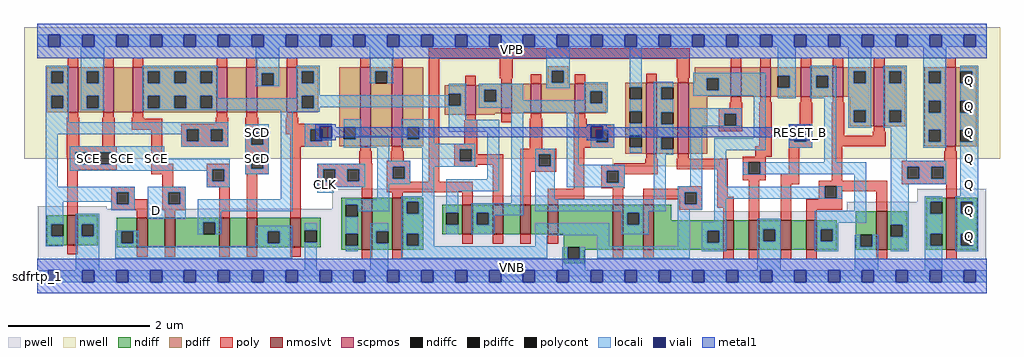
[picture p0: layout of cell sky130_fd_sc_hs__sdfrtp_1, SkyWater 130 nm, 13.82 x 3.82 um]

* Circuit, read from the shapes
.subckt sky130_fd_sc_hs__sdfrtp_1 CLK D RESET_B SCD SCE VGND VNB VPB VPWR Q
XM1 VGND SCE n1 VNB sky130_fd_pr__nfet_01v8_lvt w=0.42 l=0.15
XM2 n2 n1 n3 VNB sky130_fd_pr__nfet_01v8_lvt w=0.42 l=0.15
XM3 n4 D n2 VNB sky130_fd_pr__nfet_01v8_lvt w=0.42 l=0.15
XM4 n5 SCE n4 VNB sky130_fd_pr__nfet_01v8_lvt w=0.42 l=0.15
XM5 n3 SCD n5 VNB sky130_fd_pr__nfet_01v8_lvt w=0.42 l=0.15
XM6 VGND RESET_B n3 VNB sky130_fd_pr__nfet_01v8_lvt w=0.42 l=0.15
XM7 VGND CLK n6 VNB sky130_fd_pr__nfet_01v8_lvt w=0.74 l=0.15
XM8 n7 n6 VGND VNB sky130_fd_pr__nfet_01v8_lvt w=0.74 l=0.15
XM9 n8 n6 n4 VNB sky130_fd_pr__nfet_01v8_lvt w=0.42 l=0.15
XM10 n9 n7 n8 VNB sky130_fd_pr__nfet_01v8_lvt w=0.42 l=0.15
XM11 n10 n11 n9 VNB sky130_fd_pr__nfet_01v8_lvt w=0.42 l=0.15
XM12 VGND RESET_B n10 VNB sky130_fd_pr__nfet_01v8_lvt w=0.42 l=0.15
XM13 n11 n8 VGND VNB sky130_fd_pr__nfet_01v8_lvt w=0.64 l=0.15
XM14 n12 n7 n11 VNB sky130_fd_pr__nfet_01v8_lvt w=0.64 l=0.15
XM15 n13 n6 n12 VNB sky130_fd_pr__nfet_01v8_lvt w=0.42 l=0.15
XM16 VGND n14 n13 VNB sky130_fd_pr__nfet_01v8_lvt w=0.42 l=0.15
XM17 n15 RESET_B VGND VNB sky130_fd_pr__nfet_01v8_lvt w=0.42 l=0.15
XM18 n14 n12 n15 VNB sky130_fd_pr__nfet_01v8_lvt w=0.42 l=0.15
XM19 n16 n12 VGND VNB sky130_fd_pr__nfet_01v8_lvt w=0.55 l=0.15
XM20 Q n16 VGND VNB sky130_fd_pr__nfet_01v8_lvt w=0.74 l=0.15
XM21 VPWR SCE n1 VPB sky130_fd_pr__pfet_01v8 w=0.64 l=0.15
XM22 n17 SCE VPWR VPB sky130_fd_pr__pfet_01v8 w=0.64 l=0.15
XM23 n4 D n17 VPB sky130_fd_pr__pfet_01v8 w=0.64 l=0.15
XM24 n18 n1 n4 VPB sky130_fd_pr__pfet_01v8 w=0.64 l=0.15
XM25 VPWR SCD n18 VPB sky130_fd_pr__pfet_01v8 w=0.64 l=0.15
XM26 n4 RESET_B VPWR VPB sky130_fd_pr__pfet_01v8 w=0.64 l=0.15
XM27 VPWR CLK n6 VPB sky130_fd_pr__pfet_01v8 w=1.12 l=0.15
XM28 n7 n6 VPWR VPB sky130_fd_pr__pfet_01v8 w=1.12 l=0.15
XM29 n8 n7 n4 VPB sky130_fd_pr__pfet_01v8 w=0.42 l=0.15
XM30 n19 n6 n8 VPB sky130_fd_pr__pfet_01v8 w=0.42 l=0.15
XM31 VPWR n11 n19 VPB sky130_fd_pr__pfet_01v8 w=0.42 l=0.15
XM32 n8 RESET_B VPWR VPB sky130_fd_pr__pfet_01v8 w=0.42 l=0.15
XM33 n11 n8 VPWR VPB sky130_fd_pr__pfet_01v8 w=1 l=0.15
XM34 n12 n6 n11 VPB sky130_fd_pr__pfet_01v8 w=1 l=0.15
XM35 n20 n7 n12 VPB sky130_fd_pr__pfet_01v8 w=0.42 l=0.15
XM36 VPWR n14 n20 VPB sky130_fd_pr__pfet_01v8 w=0.42 l=0.15
XM37 n14 RESET_B VPWR VPB sky130_fd_pr__pfet_01v8 w=0.42 l=0.15
XM38 VPWR n12 n14 VPB sky130_fd_pr__pfet_01v8 w=0.42 l=0.15
XM39 n16 n12 VPWR VPB sky130_fd_pr__pfet_01v8 w=0.84 l=0.15
XM40 Q n16 VPWR VPB sky130_fd_pr__pfet_01v8 w=1.12 l=0.15
.ends

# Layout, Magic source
magic
tech sky130A
magscale 1 2
<< nwell >>
rect -38 332 2726 704
rect 1629 311 1933 332
<< pwell >>
rect 835 228 1118 248
rect 1 191 197 198
rect 835 191 1821 228
rect 2491 210 2687 248
rect 1 184 1821 191
rect 2292 184 2687 210
rect 1 49 2687 184
rect 0 0 2688 49
<< scpmos >>
rect 86 464 116 592
rect 186 464 216 592
rect 270 464 300 592
rect 508 464 538 592
rect 592 464 622 592
rect 706 464 736 592
rect 914 368 944 592
rect 1004 368 1034 592
rect 1212 457 1242 541
rect 1313 461 1343 545
rect 1397 461 1427 545
rect 1522 461 1552 545
rect 1724 347 1754 547
rect 1814 347 1844 547
rect 1963 508 1993 592
rect 2047 508 2077 592
rect 2162 508 2192 592
rect 2252 508 2282 592
rect 2369 424 2399 592
rect 2571 368 2601 592
<< nmoslvt >>
rect 84 88 114 172
rect 282 81 312 165
rect 360 81 390 165
rect 515 81 545 165
rect 593 81 623 165
rect 716 81 746 165
rect 918 74 948 222
rect 1005 74 1035 222
rect 1203 118 1233 202
rect 1289 118 1319 202
rect 1367 118 1397 202
rect 1445 118 1475 202
rect 1629 74 1659 202
rect 1715 74 1745 202
rect 1942 74 1972 158
rect 2014 74 2044 158
rect 2105 74 2135 158
rect 2177 74 2207 158
rect 2376 74 2406 184
rect 2574 74 2604 222
<< ndiff >>
rect 27 147 84 172
rect 27 113 39 147
rect 73 113 84 147
rect 27 88 84 113
rect 114 147 171 172
rect 861 202 918 222
rect 861 168 873 202
rect 907 168 918 202
rect 114 113 125 147
rect 159 113 171 147
rect 114 88 171 113
rect 225 127 282 165
rect 225 93 237 127
rect 271 93 282 127
rect 225 81 282 93
rect 312 81 360 165
rect 390 153 515 165
rect 390 119 470 153
rect 504 119 515 153
rect 390 81 515 119
rect 545 81 593 165
rect 623 127 716 165
rect 623 93 652 127
rect 686 93 716 127
rect 623 81 716 93
rect 746 130 803 165
rect 746 96 757 130
rect 791 96 803 130
rect 746 81 803 96
rect 861 120 918 168
rect 861 86 873 120
rect 907 86 918 120
rect 861 74 918 86
rect 948 127 1005 222
rect 948 93 959 127
rect 993 93 1005 127
rect 948 74 1005 93
rect 1035 210 1092 222
rect 1035 176 1046 210
rect 1080 176 1092 210
rect 1035 120 1092 176
rect 1035 86 1046 120
rect 1080 86 1092 120
rect 1146 179 1203 202
rect 1146 145 1158 179
rect 1192 145 1203 179
rect 1146 118 1203 145
rect 1233 179 1289 202
rect 1233 145 1244 179
rect 1278 145 1289 179
rect 1233 118 1289 145
rect 1319 118 1367 202
rect 1397 118 1445 202
rect 1475 118 1629 202
rect 1035 74 1092 86
rect 1490 82 1629 118
rect 1490 48 1502 82
rect 1536 74 1629 82
rect 1659 179 1715 202
rect 1659 145 1670 179
rect 1704 145 1715 179
rect 1659 74 1715 145
rect 1745 158 1795 202
rect 2517 210 2574 222
rect 1745 129 1942 158
rect 1745 95 1897 129
rect 1931 95 1942 129
rect 1745 74 1942 95
rect 1972 74 2014 158
rect 2044 133 2105 158
rect 2044 99 2055 133
rect 2089 99 2105 133
rect 2044 74 2105 99
rect 2135 74 2177 158
rect 2207 133 2264 158
rect 2207 99 2218 133
rect 2252 99 2264 133
rect 2207 74 2264 99
rect 2318 117 2376 184
rect 2318 83 2330 117
rect 2364 83 2376 117
rect 2318 74 2376 83
rect 2406 146 2463 184
rect 2406 112 2417 146
rect 2451 112 2463 146
rect 2406 74 2463 112
rect 2517 176 2529 210
rect 2563 176 2574 210
rect 2517 120 2574 176
rect 2517 86 2529 120
rect 2563 86 2574 120
rect 2517 74 2574 86
rect 2604 210 2661 222
rect 2604 176 2615 210
rect 2649 176 2661 210
rect 2604 120 2661 176
rect 2604 86 2615 120
rect 2649 86 2661 120
rect 2604 74 2661 86
rect 1536 48 1548 74
rect 1490 36 1548 48
<< pdiff >>
rect 27 580 86 592
rect 27 546 39 580
rect 73 546 86 580
rect 27 510 86 546
rect 27 476 39 510
rect 73 476 86 510
rect 27 464 86 476
rect 116 580 186 592
rect 116 546 139 580
rect 173 546 186 580
rect 116 510 186 546
rect 116 476 139 510
rect 173 476 186 510
rect 116 464 186 476
rect 216 464 270 592
rect 300 580 508 592
rect 300 546 313 580
rect 347 546 387 580
rect 421 546 461 580
rect 495 546 508 580
rect 300 510 508 546
rect 300 476 313 510
rect 347 476 387 510
rect 421 476 461 510
rect 495 476 508 510
rect 300 464 508 476
rect 538 464 592 592
rect 622 575 706 592
rect 622 541 635 575
rect 669 541 706 575
rect 622 464 706 541
rect 736 580 795 592
rect 736 546 749 580
rect 783 546 795 580
rect 736 510 795 546
rect 736 476 749 510
rect 783 476 795 510
rect 736 464 795 476
rect 855 421 914 592
rect 855 387 867 421
rect 901 387 914 421
rect 855 368 914 387
rect 944 580 1004 592
rect 944 546 957 580
rect 991 546 1004 580
rect 944 368 1004 546
rect 1034 421 1093 592
rect 1034 387 1047 421
rect 1081 387 1093 421
rect 1034 368 1093 387
rect 1445 582 1504 594
rect 1445 548 1457 582
rect 1491 548 1504 582
rect 1445 545 1504 548
rect 1862 560 1963 592
rect 1862 547 1895 560
rect 1260 541 1313 545
rect 1153 516 1212 541
rect 1153 482 1165 516
rect 1199 482 1212 516
rect 1153 457 1212 482
rect 1242 528 1313 541
rect 1242 494 1266 528
rect 1300 494 1313 528
rect 1242 461 1313 494
rect 1343 461 1397 545
rect 1427 461 1522 545
rect 1552 523 1611 545
rect 1552 489 1565 523
rect 1599 489 1611 523
rect 1552 461 1611 489
rect 1665 535 1724 547
rect 1665 501 1677 535
rect 1711 501 1724 535
rect 1665 467 1724 501
rect 1242 457 1295 461
rect 1665 433 1677 467
rect 1711 433 1724 467
rect 1665 399 1724 433
rect 1665 365 1677 399
rect 1711 365 1724 399
rect 1665 347 1724 365
rect 1754 535 1814 547
rect 1754 501 1767 535
rect 1801 501 1814 535
rect 1754 464 1814 501
rect 1754 430 1767 464
rect 1801 430 1814 464
rect 1754 393 1814 430
rect 1754 359 1767 393
rect 1801 359 1814 393
rect 1754 347 1814 359
rect 1844 526 1895 547
rect 1929 526 1963 560
rect 1844 508 1963 526
rect 1993 508 2047 592
rect 2077 567 2162 592
rect 2077 533 2097 567
rect 2131 533 2162 567
rect 2077 508 2162 533
rect 2192 567 2252 592
rect 2192 533 2205 567
rect 2239 533 2252 567
rect 2192 508 2252 533
rect 2282 580 2369 592
rect 2282 546 2312 580
rect 2346 546 2369 580
rect 2282 508 2369 546
rect 1844 347 1897 508
rect 2300 470 2369 508
rect 2300 436 2312 470
rect 2346 436 2369 470
rect 2300 424 2369 436
rect 2399 580 2458 592
rect 2399 546 2412 580
rect 2446 546 2458 580
rect 2399 470 2458 546
rect 2399 436 2412 470
rect 2446 436 2458 470
rect 2399 424 2458 436
rect 2512 580 2571 592
rect 2512 546 2524 580
rect 2558 546 2571 580
rect 2512 497 2571 546
rect 2512 463 2524 497
rect 2558 463 2571 497
rect 2512 414 2571 463
rect 2512 380 2524 414
rect 2558 380 2571 414
rect 2512 368 2571 380
rect 2601 580 2660 592
rect 2601 546 2614 580
rect 2648 546 2660 580
rect 2601 497 2660 546
rect 2601 463 2614 497
rect 2648 463 2660 497
rect 2601 414 2660 463
rect 2601 380 2614 414
rect 2648 380 2660 414
rect 2601 368 2660 380
<< ndiffc >>
rect 39 113 73 147
rect 873 168 907 202
rect 125 113 159 147
rect 237 93 271 127
rect 470 119 504 153
rect 652 93 686 127
rect 757 96 791 130
rect 873 86 907 120
rect 959 93 993 127
rect 1046 176 1080 210
rect 1046 86 1080 120
rect 1158 145 1192 179
rect 1244 145 1278 179
rect 1502 48 1536 82
rect 1670 145 1704 179
rect 1897 95 1931 129
rect 2055 99 2089 133
rect 2218 99 2252 133
rect 2330 83 2364 117
rect 2417 112 2451 146
rect 2529 176 2563 210
rect 2529 86 2563 120
rect 2615 176 2649 210
rect 2615 86 2649 120
<< pdiffc >>
rect 39 546 73 580
rect 39 476 73 510
rect 139 546 173 580
rect 139 476 173 510
rect 313 546 347 580
rect 387 546 421 580
rect 461 546 495 580
rect 313 476 347 510
rect 387 476 421 510
rect 461 476 495 510
rect 635 541 669 575
rect 749 546 783 580
rect 749 476 783 510
rect 867 387 901 421
rect 957 546 991 580
rect 1047 387 1081 421
rect 1457 548 1491 582
rect 1165 482 1199 516
rect 1266 494 1300 528
rect 1565 489 1599 523
rect 1677 501 1711 535
rect 1677 433 1711 467
rect 1677 365 1711 399
rect 1767 501 1801 535
rect 1767 430 1801 464
rect 1767 359 1801 393
rect 1895 526 1929 560
rect 2097 533 2131 567
rect 2205 533 2239 567
rect 2312 546 2346 580
rect 2312 436 2346 470
rect 2412 546 2446 580
rect 2412 436 2446 470
rect 2524 546 2558 580
rect 2524 463 2558 497
rect 2524 380 2558 414
rect 2614 546 2648 580
rect 2614 463 2648 497
rect 2614 380 2648 414
<< poly >>
rect 86 592 116 618
rect 186 592 216 618
rect 270 592 300 618
rect 508 592 538 618
rect 592 592 622 618
rect 706 592 736 618
rect 914 592 944 618
rect 1004 592 1034 618
rect 1108 615 1847 645
rect 86 449 116 464
rect 186 449 216 464
rect 270 449 300 464
rect 508 449 538 464
rect 592 449 622 464
rect 706 449 736 464
rect 83 367 119 449
rect 183 367 219 449
rect 267 445 303 449
rect 267 415 353 445
rect 505 432 541 449
rect 83 351 225 367
rect 83 337 107 351
rect 84 317 107 337
rect 141 317 175 351
rect 209 317 225 351
rect 84 301 225 317
rect 323 318 353 415
rect 407 416 541 432
rect 407 382 423 416
rect 457 382 491 416
rect 525 382 541 416
rect 407 366 541 382
rect 589 422 625 449
rect 703 432 739 449
rect 589 406 655 422
rect 589 372 605 406
rect 639 372 655 406
rect 703 416 823 432
rect 703 402 773 416
rect 589 338 655 372
rect 84 172 114 301
rect 323 288 384 318
rect 354 253 384 288
rect 479 302 545 318
rect 479 268 495 302
rect 529 268 545 302
rect 589 304 605 338
rect 639 304 655 338
rect 589 288 655 304
rect 716 382 773 402
rect 807 382 823 416
rect 716 366 823 382
rect 209 237 275 253
rect 209 203 225 237
rect 259 217 275 237
rect 354 237 420 253
rect 479 252 545 268
rect 259 203 312 217
rect 209 187 312 203
rect 354 203 370 237
rect 404 203 420 237
rect 354 187 420 203
rect 282 165 312 187
rect 360 165 390 187
rect 515 165 545 252
rect 593 165 623 288
rect 716 165 746 366
rect 914 353 944 368
rect 1004 353 1034 368
rect 911 318 947 353
rect 1001 326 1037 353
rect 794 302 948 318
rect 794 268 810 302
rect 844 268 878 302
rect 912 268 948 302
rect 794 252 948 268
rect 918 222 948 252
rect 990 310 1056 326
rect 990 276 1006 310
rect 1040 276 1056 310
rect 990 267 1056 276
rect 1108 267 1138 615
rect 1212 541 1242 567
rect 1310 560 1346 615
rect 1313 545 1343 560
rect 1397 545 1427 571
rect 1522 545 1552 571
rect 1724 547 1754 573
rect 1811 562 1847 615
rect 1963 592 1993 618
rect 2047 592 2077 618
rect 2162 592 2192 618
rect 2252 592 2282 618
rect 2369 592 2399 618
rect 2571 592 2601 618
rect 1814 547 1844 562
rect 1212 442 1242 457
rect 1209 375 1245 442
rect 1313 435 1343 461
rect 1397 446 1427 461
rect 1522 446 1552 461
rect 1180 359 1246 375
rect 1394 361 1430 446
rect 1519 429 1555 446
rect 1519 413 1633 429
rect 1519 379 1583 413
rect 1617 379 1633 413
rect 1519 363 1633 379
rect 1180 325 1196 359
rect 1230 345 1246 359
rect 1367 345 1470 361
rect 1230 325 1319 345
rect 1180 315 1319 325
rect 1180 309 1246 315
rect 990 237 1233 267
rect 1005 222 1035 237
rect 84 62 114 88
rect 282 55 312 81
rect 360 55 390 81
rect 515 55 545 81
rect 593 55 623 81
rect 716 55 746 81
rect 1203 202 1233 237
rect 1289 202 1319 315
rect 1367 311 1420 345
rect 1454 311 1470 345
rect 1367 295 1470 311
rect 1367 202 1397 295
rect 1519 247 1549 363
rect 1963 493 1993 508
rect 2047 493 2077 508
rect 2162 493 2192 508
rect 2252 493 2282 508
rect 1960 476 1996 493
rect 1929 460 1996 476
rect 1929 426 1945 460
rect 1979 426 1996 460
rect 1929 410 1996 426
rect 2044 368 2080 493
rect 2159 430 2195 493
rect 1724 332 1754 347
rect 1814 332 1844 347
rect 2033 338 2080 368
rect 2128 414 2195 430
rect 2128 380 2144 414
rect 2178 380 2195 414
rect 2128 364 2195 380
rect 2249 398 2285 493
rect 2369 409 2399 424
rect 2366 398 2402 409
rect 2249 368 2402 398
rect 1721 319 1757 332
rect 1633 315 1757 319
rect 1597 299 1757 315
rect 1811 302 1955 332
rect 1597 265 1613 299
rect 1647 289 1757 299
rect 1647 265 1663 289
rect 1597 249 1663 265
rect 1445 217 1549 247
rect 1445 202 1475 217
rect 1629 202 1659 249
rect 1817 247 1883 254
rect 1715 238 1883 247
rect 1715 217 1833 238
rect 1715 202 1745 217
rect 1817 204 1833 217
rect 1867 204 1883 238
rect 1203 92 1233 118
rect 1289 92 1319 118
rect 1367 92 1397 118
rect 1445 92 1475 118
rect 918 48 948 74
rect 1005 48 1035 74
rect 1817 188 1883 204
rect 1925 224 1955 302
rect 1997 322 2063 338
rect 1997 288 2013 322
rect 2047 288 2063 322
rect 2128 290 2158 364
rect 1997 272 2063 288
rect 1925 194 1972 224
rect 1942 158 1972 194
rect 2014 158 2044 272
rect 2105 260 2158 290
rect 2249 270 2279 368
rect 2571 353 2601 368
rect 2568 326 2604 353
rect 2448 310 2604 326
rect 2448 276 2464 310
rect 2498 276 2532 310
rect 2566 276 2604 310
rect 2105 158 2135 260
rect 2213 254 2406 270
rect 2448 260 2604 276
rect 2213 220 2229 254
rect 2263 240 2406 254
rect 2263 220 2279 240
rect 2213 218 2279 220
rect 2177 188 2279 218
rect 2177 158 2207 188
rect 2376 184 2406 240
rect 2574 222 2604 260
rect 1629 48 1659 74
rect 1715 48 1745 74
rect 1942 48 1972 74
rect 2014 48 2044 74
rect 2105 48 2135 74
rect 2177 48 2207 74
rect 2376 48 2406 74
rect 2574 48 2604 74
<< polycont >>
rect 107 317 141 351
rect 175 317 209 351
rect 423 382 457 416
rect 491 382 525 416
rect 605 372 639 406
rect 495 268 529 302
rect 605 304 639 338
rect 773 382 807 416
rect 225 203 259 237
rect 370 203 404 237
rect 810 268 844 302
rect 878 268 912 302
rect 1006 276 1040 310
rect 1583 379 1617 413
rect 1196 325 1230 359
rect 1420 311 1454 345
rect 1945 426 1979 460
rect 2144 380 2178 414
rect 1613 265 1647 299
rect 1833 204 1867 238
rect 2013 288 2047 322
rect 2464 276 2498 310
rect 2532 276 2566 310
rect 2229 220 2263 254
<< locali >>
rect 0 649 31 683
rect 65 649 127 683
rect 161 649 223 683
rect 257 649 319 683
rect 353 649 415 683
rect 449 649 511 683
rect 545 649 607 683
rect 641 649 703 683
rect 737 649 799 683
rect 833 649 895 683
rect 929 649 991 683
rect 1025 649 1087 683
rect 1121 649 1183 683
rect 1217 649 1279 683
rect 1313 649 1375 683
rect 1409 649 1471 683
rect 1505 649 1567 683
rect 1601 649 1663 683
rect 1697 649 1759 683
rect 1793 649 1855 683
rect 1889 649 1951 683
rect 1985 649 2047 683
rect 2081 649 2143 683
rect 2177 649 2239 683
rect 2273 649 2335 683
rect 2369 649 2431 683
rect 2465 649 2527 683
rect 2561 649 2623 683
rect 2657 649 2688 683
rect 23 580 89 596
rect 23 546 39 580
rect 73 546 89 580
rect 23 510 89 546
rect 23 476 39 510
rect 73 476 89 510
rect 23 435 89 476
rect 123 580 189 649
rect 123 546 139 580
rect 173 546 189 580
rect 123 510 189 546
rect 123 476 139 510
rect 173 476 189 510
rect 123 469 189 476
rect 297 580 511 596
rect 297 546 313 580
rect 347 546 387 580
rect 421 546 461 580
rect 495 546 511 580
rect 297 510 511 546
rect 619 575 685 649
rect 619 541 635 575
rect 669 541 685 575
rect 619 537 685 541
rect 733 580 799 596
rect 733 546 749 580
rect 783 546 799 580
rect 941 580 1007 649
rect 941 546 957 580
rect 991 546 1007 580
rect 1441 582 1508 649
rect 1441 548 1457 582
rect 1491 548 1508 582
rect 297 476 313 510
rect 347 476 387 510
rect 421 476 461 510
rect 495 503 511 510
rect 733 512 799 546
rect 1165 516 1215 545
rect 733 510 1165 512
rect 733 503 749 510
rect 495 476 749 503
rect 783 482 1165 510
rect 1199 482 1215 516
rect 783 478 1215 482
rect 783 476 799 478
rect 297 469 799 476
rect 689 466 799 469
rect 23 416 541 435
rect 23 401 423 416
rect 23 253 57 401
rect 407 382 423 401
rect 457 382 491 416
rect 525 382 541 416
rect 91 351 359 367
rect 407 366 541 382
rect 589 406 655 430
rect 589 372 605 406
rect 639 372 655 406
rect 91 317 107 351
rect 141 317 175 351
rect 209 332 359 351
rect 589 338 655 372
rect 209 317 545 332
rect 91 302 545 317
rect 91 298 495 302
rect 479 268 495 298
rect 529 268 545 302
rect 589 304 605 338
rect 639 304 655 338
rect 589 288 655 304
rect 23 237 275 253
rect 23 210 225 237
rect 23 147 73 210
rect 209 203 225 210
rect 259 203 275 237
rect 209 187 275 203
rect 313 237 420 253
rect 479 252 545 268
rect 313 203 370 237
rect 404 203 420 237
rect 689 218 723 466
rect 757 424 833 432
rect 757 416 799 424
rect 757 382 773 416
rect 807 382 833 390
rect 757 366 833 382
rect 867 421 917 444
rect 901 398 917 421
rect 1031 421 1124 444
rect 901 387 996 398
rect 867 364 996 387
rect 1031 387 1047 421
rect 1081 387 1124 421
rect 1165 443 1215 478
rect 1250 528 1376 545
rect 1441 532 1508 548
rect 1250 494 1266 528
rect 1300 498 1376 528
rect 1549 523 1615 549
rect 1549 498 1565 523
rect 1300 494 1565 498
rect 1250 489 1565 494
rect 1599 489 1615 523
rect 1250 477 1615 489
rect 1342 464 1615 477
rect 1677 535 1711 649
rect 1858 560 2063 576
rect 1677 467 1711 501
rect 1165 409 1308 443
rect 1031 375 1124 387
rect 1031 364 1240 375
rect 962 326 996 364
rect 1090 359 1240 364
rect 793 302 928 318
rect 793 268 810 302
rect 844 268 878 302
rect 912 268 928 302
rect 793 252 928 268
rect 962 310 1056 326
rect 962 276 1006 310
rect 1040 276 1056 310
rect 962 260 1056 276
rect 1090 325 1196 359
rect 1230 325 1240 359
rect 1090 309 1240 325
rect 793 236 839 252
rect 962 218 996 260
rect 1090 226 1124 309
rect 1274 274 1308 409
rect 23 113 39 147
rect 23 84 73 113
rect 109 147 175 176
rect 313 162 420 203
rect 454 184 723 218
rect 873 202 996 218
rect 109 113 125 147
rect 159 113 175 147
rect 454 153 520 184
rect 109 17 175 113
rect 221 127 287 128
rect 221 93 237 127
rect 271 93 287 127
rect 454 119 470 153
rect 504 119 520 153
rect 907 184 996 202
rect 1030 210 1124 226
rect 618 127 721 143
rect 221 85 287 93
rect 618 93 652 127
rect 686 93 721 127
rect 618 85 721 93
rect 221 51 721 85
rect 757 130 791 150
rect 757 17 791 96
rect 873 120 907 168
rect 1030 176 1046 210
rect 1080 176 1124 210
rect 873 70 907 86
rect 943 127 993 150
rect 943 93 959 127
rect 943 17 993 93
rect 1030 120 1124 176
rect 1030 86 1046 120
rect 1080 86 1124 120
rect 1158 240 1308 274
rect 1158 179 1192 240
rect 1342 206 1376 464
rect 1158 119 1192 145
rect 1228 179 1376 206
rect 1410 345 1465 361
rect 1410 311 1420 345
rect 1454 311 1465 345
rect 1410 218 1465 311
rect 1499 315 1533 464
rect 1567 424 1633 430
rect 1601 413 1633 424
rect 1567 379 1583 390
rect 1617 379 1633 413
rect 1567 363 1633 379
rect 1677 399 1711 433
rect 1677 349 1711 365
rect 1745 535 1801 551
rect 1745 501 1767 535
rect 1858 526 1895 560
rect 1929 526 2063 560
rect 1858 510 2063 526
rect 1745 464 1801 501
rect 1745 430 1767 464
rect 1745 393 1801 430
rect 1745 359 1767 393
rect 1745 343 1801 359
rect 1849 460 1995 476
rect 1849 426 1945 460
rect 1979 426 1995 460
rect 1849 425 1995 426
rect 1499 299 1663 315
rect 1499 265 1613 299
rect 1647 265 1663 299
rect 1499 252 1663 265
rect 1745 218 1779 343
rect 1849 254 1883 425
rect 2029 391 2063 510
rect 2097 567 2147 649
rect 2131 533 2147 567
rect 2097 504 2147 533
rect 2189 567 2262 596
rect 2189 533 2205 567
rect 2239 533 2262 567
rect 2189 504 2262 533
rect 1410 184 1779 218
rect 1813 238 1883 254
rect 1813 204 1833 238
rect 1867 204 1883 238
rect 1813 188 1883 204
rect 1917 357 2063 391
rect 2128 424 2194 430
rect 2128 390 2143 424
rect 2177 414 2194 424
rect 2128 380 2144 390
rect 2178 380 2194 414
rect 2128 364 2194 380
rect 1917 253 1951 357
rect 2228 323 2262 504
rect 2296 580 2362 649
rect 2296 546 2312 580
rect 2346 546 2362 580
rect 2296 470 2362 546
rect 2296 436 2312 470
rect 2346 436 2362 470
rect 2296 420 2362 436
rect 2396 580 2462 596
rect 2396 546 2412 580
rect 2446 546 2462 580
rect 2396 470 2462 546
rect 2396 436 2412 470
rect 2446 436 2462 470
rect 2396 420 2462 436
rect 2417 326 2462 420
rect 2508 580 2574 649
rect 2508 546 2524 580
rect 2558 546 2574 580
rect 2508 497 2574 546
rect 2508 463 2524 497
rect 2558 463 2574 497
rect 2508 414 2574 463
rect 2508 380 2524 414
rect 2558 380 2574 414
rect 2508 364 2574 380
rect 2614 580 2665 596
rect 2648 546 2665 580
rect 2614 497 2665 546
rect 2648 463 2665 497
rect 2614 414 2665 463
rect 2648 380 2665 414
rect 1997 322 2347 323
rect 1997 288 2013 322
rect 2047 289 2347 322
rect 2047 288 2063 289
rect 1997 287 2063 288
rect 2213 254 2279 255
rect 2213 253 2229 254
rect 1917 220 2229 253
rect 2263 220 2279 254
rect 1917 219 2279 220
rect 1228 145 1244 179
rect 1278 172 1376 179
rect 1654 179 1731 184
rect 1278 145 1294 172
rect 1228 119 1294 145
rect 1030 85 1124 86
rect 1410 116 1620 150
rect 1654 145 1670 179
rect 1704 145 1731 179
rect 1654 119 1731 145
rect 1410 85 1444 116
rect 1030 51 1444 85
rect 1586 85 1620 116
rect 1813 85 1847 188
rect 1917 154 1951 219
rect 2313 185 2347 289
rect 1486 48 1502 82
rect 1536 48 1552 82
rect 1586 51 1847 85
rect 1881 129 1951 154
rect 1881 95 1897 129
rect 1931 95 1951 129
rect 1881 70 1951 95
rect 2039 133 2105 162
rect 2039 99 2055 133
rect 2089 99 2105 133
rect 1486 17 1552 48
rect 2039 17 2105 99
rect 2202 151 2347 185
rect 2417 310 2574 326
rect 2417 276 2464 310
rect 2498 276 2532 310
rect 2566 276 2574 310
rect 2417 260 2574 276
rect 2202 133 2268 151
rect 2202 99 2218 133
rect 2252 99 2268 133
rect 2417 146 2467 260
rect 2614 226 2665 380
rect 2202 70 2268 99
rect 2314 83 2330 117
rect 2364 83 2381 117
rect 2314 17 2381 83
rect 2451 112 2467 146
rect 2417 70 2467 112
rect 2513 210 2563 226
rect 2513 176 2529 210
rect 2513 120 2563 176
rect 2513 86 2529 120
rect 2513 17 2563 86
rect 2599 210 2665 226
rect 2599 176 2615 210
rect 2649 176 2665 210
rect 2599 120 2665 176
rect 2599 86 2615 120
rect 2649 86 2665 120
rect 2599 70 2665 86
rect 0 -17 31 17
rect 65 -17 127 17
rect 161 -17 223 17
rect 257 -17 319 17
rect 353 -17 415 17
rect 449 -17 511 17
rect 545 -17 607 17
rect 641 -17 703 17
rect 737 -17 799 17
rect 833 -17 895 17
rect 929 -17 991 17
rect 1025 -17 1087 17
rect 1121 -17 1183 17
rect 1217 -17 1279 17
rect 1313 -17 1375 17
rect 1409 -17 1471 17
rect 1505 -17 1567 17
rect 1601 -17 1663 17
rect 1697 -17 1759 17
rect 1793 -17 1855 17
rect 1889 -17 1951 17
rect 1985 -17 2047 17
rect 2081 -17 2143 17
rect 2177 -17 2239 17
rect 2273 -17 2335 17
rect 2369 -17 2431 17
rect 2465 -17 2527 17
rect 2561 -17 2623 17
rect 2657 -17 2688 17
<< viali >>
rect 31 649 65 683
rect 127 649 161 683
rect 223 649 257 683
rect 319 649 353 683
rect 415 649 449 683
rect 511 649 545 683
rect 607 649 641 683
rect 703 649 737 683
rect 799 649 833 683
rect 895 649 929 683
rect 991 649 1025 683
rect 1087 649 1121 683
rect 1183 649 1217 683
rect 1279 649 1313 683
rect 1375 649 1409 683
rect 1471 649 1505 683
rect 1567 649 1601 683
rect 1663 649 1697 683
rect 1759 649 1793 683
rect 1855 649 1889 683
rect 1951 649 1985 683
rect 2047 649 2081 683
rect 2143 649 2177 683
rect 2239 649 2273 683
rect 2335 649 2369 683
rect 2431 649 2465 683
rect 2527 649 2561 683
rect 2623 649 2657 683
rect 799 416 833 424
rect 799 390 807 416
rect 807 390 833 416
rect 1567 413 1601 424
rect 1567 390 1583 413
rect 1583 390 1601 413
rect 2143 414 2177 424
rect 2143 390 2144 414
rect 2144 390 2177 414
rect 31 -17 65 17
rect 127 -17 161 17
rect 223 -17 257 17
rect 319 -17 353 17
rect 415 -17 449 17
rect 511 -17 545 17
rect 607 -17 641 17
rect 703 -17 737 17
rect 799 -17 833 17
rect 895 -17 929 17
rect 991 -17 1025 17
rect 1087 -17 1121 17
rect 1183 -17 1217 17
rect 1279 -17 1313 17
rect 1375 -17 1409 17
rect 1471 -17 1505 17
rect 1567 -17 1601 17
rect 1663 -17 1697 17
rect 1759 -17 1793 17
rect 1855 -17 1889 17
rect 1951 -17 1985 17
rect 2047 -17 2081 17
rect 2143 -17 2177 17
rect 2239 -17 2273 17
rect 2335 -17 2369 17
rect 2431 -17 2465 17
rect 2527 -17 2561 17
rect 2623 -17 2657 17
<< metal1 >>
rect 0 683 2688 715
rect 0 649 31 683
rect 65 649 127 683
rect 161 649 223 683
rect 257 649 319 683
rect 353 649 415 683
rect 449 649 511 683
rect 545 649 607 683
rect 641 649 703 683
rect 737 649 799 683
rect 833 649 895 683
rect 929 649 991 683
rect 1025 649 1087 683
rect 1121 649 1183 683
rect 1217 649 1279 683
rect 1313 649 1375 683
rect 1409 649 1471 683
rect 1505 649 1567 683
rect 1601 649 1663 683
rect 1697 649 1759 683
rect 1793 649 1855 683
rect 1889 649 1951 683
rect 1985 649 2047 683
rect 2081 649 2143 683
rect 2177 649 2239 683
rect 2273 649 2335 683
rect 2369 649 2431 683
rect 2465 649 2527 683
rect 2561 649 2623 683
rect 2657 649 2688 683
rect 0 617 2688 649
rect 787 424 845 430
rect 787 390 799 424
rect 833 421 845 424
rect 1555 424 1613 430
rect 1555 421 1567 424
rect 833 393 1567 421
rect 833 390 845 393
rect 787 384 845 390
rect 1555 390 1567 393
rect 1601 421 1613 424
rect 2131 424 2189 430
rect 2131 421 2143 424
rect 1601 393 2143 421
rect 1601 390 1613 393
rect 1555 384 1613 390
rect 2131 390 2143 393
rect 2177 390 2189 424
rect 2131 384 2189 390
rect 0 17 2688 49
rect 0 -17 31 17
rect 65 -17 127 17
rect 161 -17 223 17
rect 257 -17 319 17
rect 353 -17 415 17
rect 449 -17 511 17
rect 545 -17 607 17
rect 641 -17 703 17
rect 737 -17 799 17
rect 833 -17 895 17
rect 929 -17 991 17
rect 1025 -17 1087 17
rect 1121 -17 1183 17
rect 1217 -17 1279 17
rect 1313 -17 1375 17
rect 1409 -17 1471 17
rect 1505 -17 1567 17
rect 1601 -17 1663 17
rect 1697 -17 1759 17
rect 1793 -17 1855 17
rect 1889 -17 1951 17
rect 1985 -17 2047 17
rect 2081 -17 2143 17
rect 2177 -17 2239 17
rect 2273 -17 2335 17
rect 2369 -17 2431 17
rect 2465 -17 2527 17
rect 2561 -17 2623 17
rect 2657 -17 2688 17
rect 0 -49 2688 -17
<< labels >>
rlabel comment s 0 0 0 0 4 sdfrtp_1
flabel pwell s 0 0 2688 49 0 FreeSans 200 0 0 0 VNB
port 7 nsew ground bidirectional
flabel nwell s 0 617 2688 666 0 FreeSans 200 0 0 0 VPB
port 8 nsew power bidirectional
flabel metal1 s 2143 390 2177 424 0 FreeSans 340 0 0 0 RESET_B
port 3 nsew signal input
flabel metal1 s 0 617 2688 666 0 FreeSans 340 0 0 0 VPWR
port 9 nsew power bidirectional
flabel metal1 s 0 0 2688 49 0 FreeSans 340 0 0 0 VGND
port 6 nsew ground bidirectional
flabel locali s 2623 94 2657 128 0 FreeSans 340 0 0 0 Q
port 10 nsew signal output
flabel locali s 2623 168 2657 202 0 FreeSans 340 0 0 0 Q
port 10 nsew signal output
flabel locali s 2623 242 2657 276 0 FreeSans 340 0 0 0 Q
port 10 nsew signal output
flabel locali s 2623 316 2657 350 0 FreeSans 340 0 0 0 Q
port 10 nsew signal output
flabel locali s 2623 390 2657 424 0 FreeSans 340 0 0 0 Q
port 10 nsew signal output
flabel locali s 2623 464 2657 498 0 FreeSans 340 0 0 0 Q
port 10 nsew signal output
flabel locali s 2623 538 2657 572 0 FreeSans 340 0 0 0 Q
port 10 nsew signal output
flabel locali s 127 316 161 350 0 FreeSans 340 0 0 0 SCE
port 5 nsew signal input
flabel locali s 223 316 257 350 0 FreeSans 340 0 0 0 SCE
port 5 nsew signal input
flabel locali s 319 316 353 350 0 FreeSans 340 0 0 0 SCE
port 5 nsew signal input
flabel locali s 799 242 833 276 0 FreeSans 340 0 0 0 CLK
port 1 nsew clock input
flabel locali s 607 316 641 350 0 FreeSans 340 0 0 0 SCD
port 4 nsew signal input
flabel locali s 607 390 641 424 0 FreeSans 340 0 0 0 SCD
port 4 nsew signal input
flabel locali s 319 168 353 202 0 FreeSans 340 0 0 0 D
port 2 nsew signal input
<< properties >>
string LEFsite unit
string LEFclass CORE
string FIXED_BBOX 0 0 2688 666
string GDS_FILE $PDKPATH/libs.ref/sky130_fd_sc_hs/gds/sky130_fd_sc_hs.gds
string LEFsymmetry X Y R90
string GDS_END 2174788
string GDS_START 2154290
<< end >>
